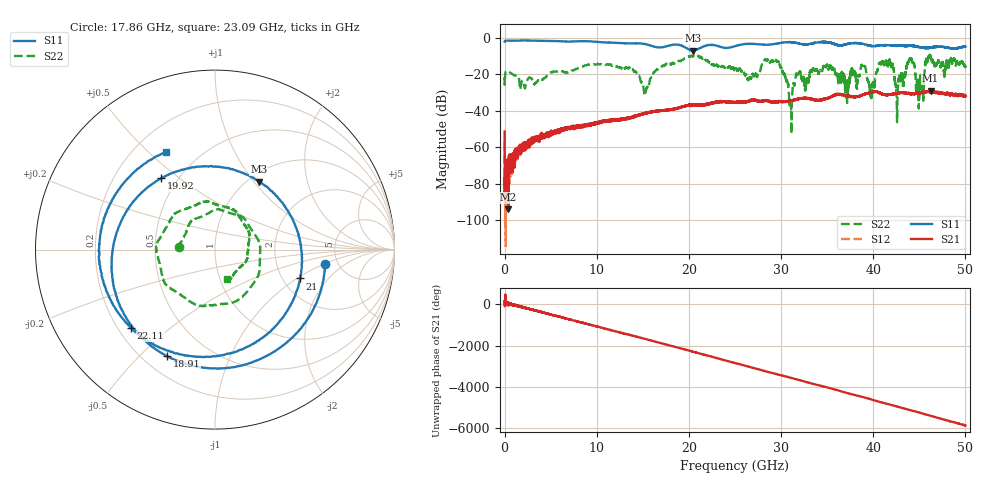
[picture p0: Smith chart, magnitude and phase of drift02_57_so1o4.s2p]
!Created with skrf (http://scikit-rf.org).
# Hz S RI R 50.0
!freq ReS11 ImS11 ReS21 ImS21 ReS12 ImS12 ReS22 ImS22
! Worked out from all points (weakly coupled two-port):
!   10001 points, 300 kHz to 50 GHz, reference 50 ohm
!   highest |S21| = -28.94 dB at 46.22 GHz (marker M1); lowest = -94.2 dB at 410.3 MHz (marker M2)
!   lowest |S11| = -6.9 dB at 20.42 GHz (marker M3), VSWR 2.64, Z = 55.8 + j53 ohm
!   |S11| at or under -10 dB: nowhere
!   |S22| runs from -52.7 to -9.2 dB; largest |S21 - S12| = 0.0031
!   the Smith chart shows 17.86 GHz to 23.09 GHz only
!   S11 on the Smith chart (normalised r, x): 17.86 GHz: 3.98, -1.00; 18.91 GHz: 0.29, -0.61; 19.92 GHz: 0.41, +0.43; 21 GHz: 2.48, -1.07; 22.11 GHz: 0.25, -0.37; 23.09 GHz: 0.33, +0.57
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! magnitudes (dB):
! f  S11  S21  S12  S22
! 300 kHz  -2.1  -51.4  -57.4  -21.6
! 410.3 MHz  -1.4  -94.2  -69.2  -18.3
! 8.335 GHz  -1.7  -49.0  -48.8  -15.7
! 15.33 GHz  -3.4  -41.2  -41.3  -29.1
! 16.67 GHz  -5.2  -40.0  -40.0  -17.0
! 17.86 GHz  -4.2  -39.6  -39.4  -13.9
! 18.91 GHz  -3.7  -38.3  -38.3  -12.5
! 19.92 GHz  -6.1  -37.1  -37.0  -10.2
! 20.42 GHz  -6.9  -37.2  -36.5  -10.0
! 21 GHz  -6.0  -36.7  -36.9  -9.8
! 22.11 GHz  -3.9  -36.1  -36.1  -12.9
! 23.09 GHz  -4.3  -35.2  -35.4  -15.1
! 25 GHz  -4.5  -35.3  -35.4  -17.5
! 29.51 GHz  -3.1  -35.0  -35.2  -12.6
! 31.03 GHz  -2.3  -34.3  -34.8  -35.6
! 33.34 GHz  -3.0  -33.2  -33.5  -18.1
! 38.92 GHz  -3.2  -31.2  -31.1  -16.3
! 39.86 GHz  -4.4  -29.9  -29.9  -28.3
! 41.67 GHz  -3.9  -31.3  -31.1  -13.5
! 42.58 GHz  -4.3  -30.3  -30.2  -43.7
! 46.22 GHz  -5.3  -28.9  -29.1  -10.7
! 50 GHz  -4.7  -32.0  -31.8  -15.8
